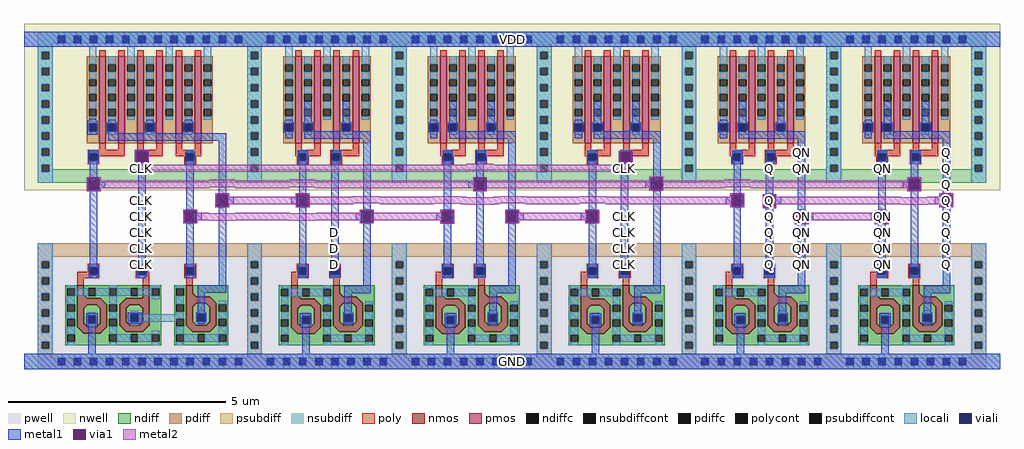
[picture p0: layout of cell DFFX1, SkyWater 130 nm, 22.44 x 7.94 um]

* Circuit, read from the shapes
.subckt DFFX1 Q QN D CLK VDD GND
XM1 n1 n2 GND GND sky130_fd_pr__nfet_01v8 w=2.6 l=0.1484
XM2 n1 CLK n3 GND sky130_fd_pr__nfet_01v8 w=2.52 l=0.1479
XM3 n3 n4 n5 GND sky130_fd_pr__nfet_01v8 w=2.56 l=0.1457
XM4 n6 n5 GND GND sky130_fd_pr__nfet_01v8 w=2.6 l=0.1481
XM5 n6 D n4 GND sky130_fd_pr__nfet_01v8 w=2.56 l=0.146
XM6 n7 n4 GND GND sky130_fd_pr__nfet_01v8 w=2.6 l=0.1481
XM7 n7 n2 n8 GND sky130_fd_pr__nfet_01v8 w=2.56 l=0.1463
XM8 n9 n8 GND GND sky130_fd_pr__nfet_01v8 w=2.6 l=0.1481
XM9 n9 CLK n2 GND sky130_fd_pr__nfet_01v8 w=2.56 l=0.1459
XM10 n10 n5 GND GND sky130_fd_pr__nfet_01v8 w=2.6 l=0.1483
XM11 n10 Q QN GND sky130_fd_pr__nfet_01v8 w=2.56 l=0.1462
XM12 n11 QN GND GND sky130_fd_pr__nfet_01v8 w=2.6 l=0.1478
XM13 n11 n2 Q GND sky130_fd_pr__nfet_01v8 w=2.56 l=0.146
XM14 n5 n2 VDD VDD sky130_fd_pr__pfet_01v8 w=2 l=0.15 m=2
XM15 n5 CLK VDD VDD sky130_fd_pr__pfet_01v8 w=2 l=0.15 m=2
XM16 n5 n4 VDD VDD sky130_fd_pr__pfet_01v8 w=2 l=0.15 m=2
XM17 n4 n5 VDD VDD sky130_fd_pr__pfet_01v8 w=2 l=0.15 m=2
XM18 n4 D VDD VDD sky130_fd_pr__pfet_01v8 w=2 l=0.15 m=2
XM19 n8 n4 VDD VDD sky130_fd_pr__pfet_01v8 w=2 l=0.15 m=2
XM20 n8 n2 VDD VDD sky130_fd_pr__pfet_01v8 w=2 l=0.15 m=2
XM21 n2 n8 VDD VDD sky130_fd_pr__pfet_01v8 w=2 l=0.15 m=2
XM22 n2 CLK VDD VDD sky130_fd_pr__pfet_01v8 w=2 l=0.15 m=2
XM23 QN n5 VDD VDD sky130_fd_pr__pfet_01v8 w=2 l=0.15 m=2
XM24 QN Q VDD VDD sky130_fd_pr__pfet_01v8 w=2 l=0.15 m=2
XM25 Q QN VDD VDD sky130_fd_pr__pfet_01v8 w=2 l=0.15 m=2
XM26 Q n2 VDD VDD sky130_fd_pr__pfet_01v8 w=2 l=0.15 m=2
.ends

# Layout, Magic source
magic
tech sky130A
magscale 1 2
<< nwell >>
rect 0 822 4488 1588
<< pwell >>
rect 155 19 189 53
rect 64 0 4424 6
<< psubdiff >>
rect 64 0 4424 6
<< nsubdiff >>
rect 64 1550 4424 1552
<< locali >>
rect 0 1482 4488 1552
rect 0 0 4488 70
<< metal1 >>
rect 0 1482 4488 1552
rect 3559 981 3593 1015
rect 4225 981 4259 1015
rect 525 907 559 941
rect 2745 907 2779 941
rect 3411 907 3445 941
rect 3559 907 3593 941
rect 3929 907 3963 941
rect 4225 907 4259 941
rect 4225 833 4259 867
rect 3396 799 3460 805
rect 525 759 559 793
rect 3396 747 3402 799
rect 3454 747 3460 799
rect 3396 741 3460 747
rect 4209 803 4273 809
rect 4209 751 4215 803
rect 4267 751 4273 803
rect 4209 745 4273 751
rect 3544 725 3608 731
rect 525 685 559 719
rect 2745 685 2779 719
rect 3411 685 3445 719
rect 3544 673 3550 725
rect 3602 673 3608 725
rect 3544 667 3608 673
rect 3913 725 3977 731
rect 3913 673 3919 725
rect 3971 673 3977 725
rect 4225 685 4259 719
rect 3913 667 3977 673
rect 525 611 559 645
rect 1413 611 1447 645
rect 2745 611 2779 645
rect 3411 611 3445 645
rect 3559 611 3593 645
rect 3929 611 3963 645
rect 4225 611 4259 645
rect 525 537 559 571
rect 1413 537 1447 571
rect 2745 537 2779 571
rect 3411 537 3445 571
rect 3559 537 3593 571
rect 3929 537 3963 571
rect 4225 537 4259 571
rect 525 463 559 497
rect 1413 463 1447 497
rect 2745 463 2779 497
rect 3411 463 3445 497
rect 3559 463 3593 497
rect 3929 463 3963 497
rect 4225 463 4259 497
rect 0 0 4488 70
<< via1 >>
rect 3402 747 3454 799
rect 4215 751 4267 803
rect 3550 673 3602 725
rect 3919 673 3971 725
<< metal2 >>
rect 3396 799 3460 805
rect 3396 747 3402 799
rect 3454 793 3460 799
rect 4209 803 4273 809
rect 4209 793 4215 803
rect 3454 790 4034 793
rect 4154 790 4215 793
rect 3454 759 4215 790
rect 3454 747 3460 759
rect 4034 756 4154 759
rect 3396 741 3460 747
rect 4209 751 4215 759
rect 4267 751 4273 803
rect 4209 745 4273 751
rect 3544 725 3608 731
rect 3544 673 3550 725
rect 3602 719 3608 725
rect 3913 725 3977 731
rect 3913 719 3919 725
rect 3602 685 3919 719
rect 3602 673 3608 685
rect 3544 667 3608 673
rect 3913 673 3919 685
rect 3971 673 3977 725
rect 3913 667 3977 673
use dffx1_pcell  dffx1_pcell_0
transform 1 0 98 0 1 36
box -87 -34 4379 1550
use li1_M1_contact  li1_M1_contact_0
transform -1 0 3576 0 -1 702
box -53 -33 29 33
use li1_M1_contact  li1_M1_contact_1
transform 1 0 3946 0 1 702
box -53 -33 29 33
use li1_M1_contact  li1_M1_contact_8
transform -1 0 3428 0 -1 776
box -53 -33 29 33
use li1_M1_contact  li1_M1_contact_15
transform 1 0 4242 0 1 776
box -53 -33 29 33
<< labels >>
rlabel metal1 4225 759 4259 793 1 Q
port 1 nsew signal output
rlabel metal1 4225 833 4259 867 1 Q
port 1 nsew signal output
rlabel metal1 4225 907 4259 941 1 Q
port 1 nsew signal output
rlabel metal1 4225 981 4259 1015 1 Q
port 1 nsew signal output
rlabel metal1 4225 685 4259 719 1 Q
port 1 nsew signal output
rlabel metal1 4225 611 4259 645 1 Q
port 1 nsew signal output
rlabel metal1 4225 537 4259 571 1 Q
port 1 nsew signal output
rlabel metal1 4225 463 4259 497 1 Q
port 1 nsew signal output
rlabel metal1 3411 907 3445 941 1 Q
port 1 nsew signal output
rlabel metal1 3411 759 3445 793 1 Q
port 1 nsew signal output
rlabel metal1 3411 685 3445 719 1 Q
port 1 nsew signal output
rlabel metal1 3411 611 3445 645 1 Q
port 1 nsew signal output
rlabel metal1 3411 537 3445 571 1 Q
port 1 nsew signal output
rlabel metal1 3411 463 3445 497 1 Q
port 1 nsew signal output
rlabel metal1 3929 685 3963 719 1 QN
port 2 nsew signal output
rlabel metal1 3929 907 3963 941 1 QN
port 2 nsew signal output
rlabel metal1 3929 611 3963 645 1 QN
port 2 nsew signal output
rlabel metal1 3929 537 3963 571 1 QN
port 2 nsew signal output
rlabel metal1 3929 463 3963 497 1 QN
port 2 nsew signal output
rlabel metal1 3559 463 3593 497 1 QN
port 2 nsew signal output
rlabel metal1 3559 537 3593 571 1 QN
port 2 nsew signal output
rlabel metal1 3559 611 3593 645 1 QN
port 2 nsew signal output
rlabel metal1 3559 685 3593 719 1 QN
port 2 nsew signal output
rlabel metal1 3559 907 3593 941 1 QN
port 2 nsew signal output
rlabel metal1 3559 981 3593 1015 1 QN
port 2 nsew signal output
rlabel metal1 1413 611 1447 645 1 D
port 3 nsew signal input
rlabel metal1 1413 537 1447 571 1 D
port 3 nsew signal input
rlabel metal1 1413 463 1447 497 1 D
port 3 nsew signal input
rlabel metal1 525 907 559 941 1 CLK
port 4 nsew signal input
rlabel metal1 525 759 559 793 1 CLK
port 4 nsew signal input
rlabel metal1 525 685 559 719 1 CLK
port 4 nsew signal input
rlabel metal1 525 611 559 645 1 CLK
port 4 nsew signal input
rlabel metal1 525 537 559 571 1 CLK
port 4 nsew signal input
rlabel metal1 525 463 559 497 1 CLK
port 4 nsew signal input
rlabel metal1 2745 463 2779 497 1 CLK
port 4 nsew signal input
rlabel metal1 2745 537 2779 571 1 CLK
port 4 nsew signal input
rlabel metal1 2745 611 2779 645 1 CLK
port 4 nsew signal input
rlabel metal1 2745 685 2779 719 1 CLK
port 4 nsew signal input
rlabel metal1 2745 907 2779 941 1 CLK
port 4 nsew signal input
rlabel metal1 0 1482 4488 1552 1 VDD
port 5 nsew power bidirectional abutment
rlabel metal1 0 0 4488 70 1 GND
port 6 nsew ground bidirectional abutment
<< properties >>
string FIXED_BBOX 0 0 4488 1552
string LEFclass CORE
string LEFsite unitrh
string LEFsymmetry X Y
<< end >>

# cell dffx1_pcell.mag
magic
tech sky130A
magscale 1 2
<< nwell >>
rect 461 905 476 910
<< metal1 >>
rect 412 966 476 972
rect 412 914 418 966
rect 470 914 476 966
rect 412 908 476 914
rect 2637 963 2701 969
rect 2637 911 2643 963
rect 2695 911 2701 963
rect 2637 905 2701 911
rect 191 841 255 847
rect 191 789 197 841
rect 249 789 255 841
rect 191 783 255 789
rect 1967 841 2031 847
rect 1967 789 1973 841
rect 2025 789 2031 841
rect 1967 783 2031 789
rect 2778 843 2842 849
rect 2778 791 2784 843
rect 2836 791 2842 843
rect 2778 785 2842 791
rect 3964 840 4028 846
rect 3964 788 3970 840
rect 4022 788 4028 840
rect 3964 782 4028 788
rect 782 766 846 772
rect 782 714 788 766
rect 840 714 846 766
rect 782 708 846 714
rect 1151 766 1215 772
rect 1151 714 1157 766
rect 1209 714 1215 766
rect 1151 708 1215 714
rect 3150 767 3214 773
rect 3150 715 3156 767
rect 3208 715 3214 767
rect 3150 709 3214 715
rect 635 692 699 698
rect 635 640 641 692
rect 693 640 699 692
rect 635 634 699 640
rect 1447 692 1511 698
rect 1447 640 1453 692
rect 1505 640 1511 692
rect 1447 634 1511 640
rect 1817 691 1881 697
rect 1817 639 1823 691
rect 1875 639 1881 691
rect 1817 633 1881 639
rect 2115 692 2179 698
rect 2115 640 2121 692
rect 2173 640 2179 692
rect 2115 634 2179 640
rect 2483 692 2547 698
rect 2483 640 2489 692
rect 2541 640 2547 692
rect 2483 634 2547 640
<< via1 >>
rect 418 914 470 966
rect 2643 911 2695 963
rect 197 789 249 841
rect 1973 789 2025 841
rect 2784 791 2836 843
rect 3970 788 4022 840
rect 788 714 840 766
rect 1157 714 1209 766
rect 3156 715 3208 767
rect 641 640 693 692
rect 1453 640 1505 692
rect 1823 639 1875 691
rect 2121 640 2173 692
rect 2489 640 2541 692
<< metal2 >>
rect 412 966 476 972
rect 412 914 418 966
rect 470 914 476 966
rect 412 908 476 914
rect 2637 963 2701 969
rect 2637 911 2643 963
rect 2695 911 2701 963
rect 427 905 476 908
rect 1939 905 2059 909
rect 2637 905 2701 911
rect 427 875 2685 905
rect 427 871 1939 875
rect 2059 871 2685 875
rect 191 841 255 847
rect 191 789 197 841
rect 249 831 255 841
rect 1967 841 2031 847
rect 754 831 874 834
rect 1123 831 1243 834
rect 1967 831 1973 841
rect 249 800 1973 831
rect 249 797 754 800
rect 874 797 1123 800
rect 1243 797 1973 800
rect 249 789 255 797
rect 191 783 255 789
rect 1967 789 1973 797
rect 2025 831 2031 841
rect 2778 843 2842 849
rect 2778 831 2784 843
rect 2025 797 2784 831
rect 2025 789 2031 797
rect 1967 783 2031 789
rect 2778 791 2784 797
rect 2836 831 2842 843
rect 3964 840 4028 846
rect 3122 831 3242 835
rect 3964 831 3970 840
rect 2836 801 3970 831
rect 2836 797 3122 801
rect 3242 797 3970 801
rect 2836 791 2842 797
rect 2778 785 2842 791
rect 3964 788 3970 797
rect 4022 788 4028 840
rect 3964 782 4028 788
rect 782 766 846 772
rect 782 714 788 766
rect 840 757 846 766
rect 1151 766 1215 772
rect 1151 757 1157 766
rect 840 723 1157 757
rect 840 714 846 723
rect 782 708 846 714
rect 1151 714 1157 723
rect 1209 757 1215 766
rect 3150 767 3214 773
rect 1419 757 1539 760
rect 1789 757 1909 759
rect 2087 757 2207 760
rect 2455 757 2575 760
rect 3150 757 3156 767
rect 1209 755 1939 757
rect 2059 755 3156 757
rect 1209 726 3156 755
rect 1209 723 1419 726
rect 1539 725 2087 726
rect 1539 723 1789 725
rect 1909 723 2087 725
rect 2207 723 2455 726
rect 2575 723 3156 726
rect 1209 714 1215 723
rect 1939 721 2059 723
rect 1151 708 1215 714
rect 3150 715 3156 723
rect 3208 715 3214 767
rect 3150 709 3214 715
rect 635 692 699 698
rect 635 640 641 692
rect 693 683 699 692
rect 1447 692 1511 698
rect 1447 683 1453 692
rect 693 680 754 683
rect 874 680 1123 683
rect 1243 680 1453 683
rect 693 649 1453 680
rect 693 640 699 649
rect 754 646 874 649
rect 1123 646 1243 649
rect 635 634 699 640
rect 1447 640 1453 649
rect 1505 683 1511 692
rect 1817 691 1881 697
rect 1817 683 1823 691
rect 1505 649 1823 683
rect 1505 640 1511 649
rect 1447 634 1511 640
rect 1817 639 1823 649
rect 1875 639 1881 691
rect 1817 633 1881 639
rect 2115 692 2179 698
rect 2115 640 2121 692
rect 2173 683 2179 692
rect 2483 692 2547 698
rect 2483 683 2489 692
rect 2173 649 2489 683
rect 2173 640 2179 649
rect 2115 634 2179 640
rect 2483 640 2489 649
rect 2541 640 2547 692
rect 2483 634 2547 640
use li1_M1_contact  li1_M1_contact_0
transform 1 0 2812 0 1 814
box -53 -33 29 33
use li1_M1_contact  li1_M1_contact_1
transform -1 0 222 0 -1 814
box -53 -33 29 33
use li1_M1_contact  li1_M1_contact_2
transform 1 0 1998 0 1 814
box -53 -33 29 33
use li1_M1_contact  li1_M1_contact_3
transform -1 0 666 0 -1 666
box -53 -33 29 33
use li1_M1_contact  li1_M1_contact_4
transform 1 0 1480 0 1 666
box -53 -33 29 33
use li1_M1_contact  li1_M1_contact_5
transform -1 0 814 0 -1 740
box -53 -33 29 33
use li1_M1_contact  li1_M1_contact_6
transform 1 0 1184 0 1 740
box -53 -33 29 33
use li1_M1_contact  li1_M1_contact_7
transform 1 0 1850 0 1 666
box -53 -33 29 33
use li1_M1_contact  li1_M1_contact_8
transform 1 0 3182 0 1 740
box -53 -33 29 33
use li1_M1_contact  li1_M1_contact_9
transform 1 0 2516 0 1 666
box -53 -33 29 33
use li1_M1_contact  li1_M1_contact_10
transform -1 0 2146 0 -1 666
box -53 -33 29 33
use li1_M1_contact  li1_M1_contact_15
transform 1 0 3996 0 1 814
box -53 -33 29 33
use nand2x1_pcell  nand2x1_pcell_0
transform 1 0 962 0 1 0
box -87 -34 753 1550
use nand2x1_pcell  nand2x1_pcell_1
transform 1 0 1628 0 1 0
box -87 -34 753 1550
use nand2x1_pcell  nand2x1_pcell_2
transform 1 0 2294 0 1 0
box -87 -34 753 1550
use nand2x1_pcell  nand2x1_pcell_3
transform 1 0 2960 0 1 0
box -87 -34 753 1550
use nand2x1_pcell  nand2x1_pcell_4
transform 1 0 3626 0 1 0
box -87 -34 753 1550
use nand3x1_pcell  nand3x1_pcell_0
transform 1 0 0 0 1 0
box -87 -34 1049 1550
<< end >>

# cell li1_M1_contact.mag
magic
tech sky130A
magscale 1 2
<< locali >>
rect -17 17 17 33
rect -17 -33 17 -17
<< viali >>
rect -17 -17 17 17
<< metal1 >>
rect -23 17 23 23
rect -53 -17 -17 17
rect 17 -17 29 17
rect -23 -23 23 -17
<< end >>

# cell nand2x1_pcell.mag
magic
tech sky130A
magscale 1 2
<< nwell >>
rect 87 786 579 1550
<< pwell >>
rect 34 542 632 544
rect -31 -30 697 542
rect 34 -34 632 -30
<< pdiff >>
rect 223 1093 269 1100
rect 223 1059 229 1093
rect 263 1059 269 1093
rect 223 1053 269 1059
rect 399 1093 445 1100
rect 399 1059 405 1093
rect 439 1059 445 1093
rect 399 1053 445 1059
<< pdiffc >>
rect 141 1059 175 1093
rect 229 1059 263 1093
rect 405 1059 439 1093
<< psubdiff >>
rect 34 542 632 544
rect 31 482 635 542
rect 31 480 34 482
rect 632 480 635 482
rect 31 -17 57 17
rect 91 -17 131 17
rect 165 -17 205 17
rect 239 -17 279 17
rect 313 -17 353 17
rect 387 -17 427 17
rect 461 -17 501 17
rect 535 -17 575 17
rect 609 -17 635 17
rect 31 -30 635 -17
rect 34 -34 632 -30
<< nsubdiff >>
rect 34 1497 632 1514
rect 34 1463 57 1497
rect 91 1463 131 1497
rect 165 1463 205 1497
rect 239 1463 279 1497
rect 313 1463 353 1497
rect 387 1463 427 1497
rect 461 1463 501 1497
rect 535 1463 575 1497
rect 609 1463 632 1497
rect 34 822 632 884
<< psubdiffcont >>
rect 57 -17 91 17
rect 131 -17 165 17
rect 205 -17 239 17
rect 279 -17 313 17
rect 353 -17 387 17
rect 427 -17 461 17
rect 501 -17 535 17
rect 575 -17 609 17
<< nsubdiffcont >>
rect 57 1463 91 1497
rect 131 1463 165 1497
rect 205 1463 239 1497
rect 279 1463 313 1497
rect 353 1463 387 1497
rect 427 1463 461 1497
rect 501 1463 535 1497
rect 575 1463 609 1497
<< poly >>
rect 168 375 198 413
rect 362 382 392 383
<< locali >>
rect -34 1497 634 1514
rect -34 1463 57 1497
rect 91 1463 131 1497
rect 165 1463 205 1497
rect 239 1463 279 1497
rect 313 1463 353 1497
rect 387 1463 427 1497
rect 461 1463 501 1497
rect 535 1463 575 1497
rect 609 1463 634 1497
rect -34 1446 634 1463
rect 141 1093 175 1122
rect 141 1043 175 1059
rect 229 1093 263 1122
rect 229 1043 263 1059
rect 405 1093 439 1122
rect 405 1043 439 1059
rect 33 17 659 34
rect 33 -17 57 17
rect 91 -17 131 17
rect 165 -17 205 17
rect 239 -17 279 17
rect 313 -17 353 17
rect 387 -17 427 17
rect 461 -17 501 17
rect 535 -17 575 17
rect 609 -17 659 17
rect 33 -34 659 -17
<< viali >>
rect 57 1463 91 1497
rect 131 1463 165 1497
rect 205 1463 239 1497
rect 279 1463 313 1497
rect 353 1463 387 1497
rect 427 1463 461 1497
rect 501 1463 535 1497
rect 575 1463 609 1497
rect 141 1059 175 1093
rect 229 1059 263 1093
rect 405 1059 439 1093
rect 205 923 239 957
rect 359 923 393 957
rect 205 399 239 433
rect 353 399 387 433
rect 219 174 253 208
rect 413 183 447 217
rect 57 -17 91 17
rect 131 -17 165 17
rect 205 -17 239 17
rect 279 -17 313 17
rect 353 -17 387 17
rect 427 -17 461 17
rect 501 -17 535 17
rect 575 -17 609 17
<< metal1 >>
rect -34 1497 700 1514
rect -34 1463 57 1497
rect 91 1463 131 1497
rect 165 1463 205 1497
rect 239 1463 279 1497
rect 313 1463 353 1497
rect 387 1463 427 1497
rect 461 1463 501 1497
rect 535 1463 575 1497
rect 609 1463 700 1497
rect -34 1446 700 1463
rect 141 1100 175 1111
rect 229 1100 263 1196
rect 405 1100 439 1196
rect 135 1093 181 1100
rect 135 1059 141 1093
rect 175 1059 181 1093
rect 135 1053 181 1059
rect 223 1093 269 1100
rect 223 1059 229 1093
rect 263 1059 269 1093
rect 223 1057 269 1059
rect 399 1093 445 1100
rect 399 1059 405 1093
rect 439 1059 445 1093
rect 399 1057 445 1059
rect 223 1053 535 1057
rect 141 1027 175 1053
rect 229 1023 535 1053
rect 199 957 246 969
rect 199 923 205 957
rect 239 923 246 957
rect 199 912 246 923
rect 353 957 399 969
rect 353 923 359 957
rect 393 923 399 957
rect 353 916 399 923
rect 205 441 239 912
rect 353 911 394 916
rect 353 441 387 911
rect 198 433 246 441
rect 198 399 205 433
rect 239 399 246 433
rect 198 387 246 399
rect 347 433 394 441
rect 347 399 353 433
rect 387 399 394 433
rect 347 387 394 399
rect 501 348 535 1023
rect 413 314 535 348
rect 413 224 447 314
rect 209 208 262 220
rect 209 174 219 208
rect 253 174 262 208
rect 209 165 262 174
rect 407 217 453 224
rect 407 183 413 217
rect 447 183 453 217
rect 407 171 453 183
rect 219 34 253 165
rect -34 17 700 34
rect -34 -17 57 17
rect 91 -17 131 17
rect 165 -17 205 17
rect 239 -17 279 17
rect 313 -17 353 17
rect 387 -17 427 17
rect 461 -17 501 17
rect 535 -17 575 17
rect 609 -17 700 17
rect -34 -34 700 -17
use diff_ring_side  diff_ring_side_0
transform 1 0 666 0 1 0
box -87 -34 87 1550
use diff_ring_side  diff_ring_side_1
transform 1 0 0 0 1 0
box -87 -34 87 1550
use nmos_bottom  nmos_bottom_0
transform -1 0 360 0 1 73
box 0 0 248 302
use nmos_top_trim1  nmos_top_trim1_0
transform -1 0 554 0 1 73
box 0 0 248 309
use pmos2  pmos2_0
transform 1 0 43 0 1 1404
box 52 -461 352 42
use pmos2  pmos2_1
transform 1 0 219 0 1 1404
box 52 -461 352 42
use poly_li1_contact  poly_li1_contact_0
transform 0 1 223 -1 0 941
box -32 -28 34 26
use poly_li1_contact  poly_li1_contact_1
transform 0 1 223 -1 0 417
box -32 -28 34 26
use poly_li1_contact  poly_li1_contact_2
transform 0 -1 369 1 0 415
box -32 -28 34 26
use poly_li1_contact  poly_li1_contact_3
transform 0 1 377 -1 0 941
box -32 -28 34 26
<< end >>

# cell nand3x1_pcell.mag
magic
tech sky130A
magscale 1 2
<< nwell >>
rect 87 1099 875 1550
rect 87 1093 220 1099
rect 87 1059 205 1093
rect 229 1059 263 1093
rect 87 1056 220 1059
rect 279 1056 875 1099
rect 87 786 875 1056
<< pwell >>
rect 34 -34 928 544
<< pdiffc >>
rect 201 1059 235 1093
rect 289 1059 323 1093
rect 465 1059 499 1093
rect 641 1059 675 1093
<< psubdiff >>
rect 34 482 928 544
rect 34 -17 57 17
rect 91 -17 131 17
rect 165 -17 205 17
rect 239 -17 279 17
rect 313 -17 353 17
rect 387 -17 427 17
rect 461 -17 501 17
rect 535 -17 575 17
rect 609 -17 649 17
rect 683 -17 723 17
rect 757 -17 797 17
rect 831 -17 871 17
rect 905 -17 928 17
rect 34 -34 928 -17
<< nsubdiff >>
rect 34 1497 928 1514
rect 34 1463 57 1497
rect 91 1463 131 1497
rect 165 1463 205 1497
rect 239 1463 279 1497
rect 313 1463 353 1497
rect 387 1463 427 1497
rect 461 1463 501 1497
rect 535 1463 575 1497
rect 609 1463 649 1497
rect 683 1463 723 1497
rect 757 1463 797 1497
rect 831 1463 871 1497
rect 905 1463 928 1497
rect 34 822 928 884
<< psubdiffcont >>
rect 57 -17 91 17
rect 131 -17 165 17
rect 205 -17 239 17
rect 279 -17 313 17
rect 353 -17 387 17
rect 427 -17 461 17
rect 501 -17 535 17
rect 575 -17 609 17
rect 649 -17 683 17
rect 723 -17 757 17
rect 797 -17 831 17
rect 871 -17 905 17
<< nsubdiffcont >>
rect 57 1463 91 1497
rect 131 1463 165 1497
rect 205 1463 239 1497
rect 279 1463 313 1497
rect 353 1463 387 1497
rect 427 1463 461 1497
rect 501 1463 535 1497
rect 575 1463 609 1497
rect 649 1463 683 1497
rect 723 1463 757 1497
rect 797 1463 831 1497
rect 871 1463 905 1497
<< poly >>
rect 147 383 195 413
rect 471 383 477 413
rect 147 377 177 383
rect 447 377 477 383
<< locali >>
rect 14 1497 943 1514
rect 14 1463 57 1497
rect 91 1463 131 1497
rect 165 1463 205 1497
rect 239 1463 279 1497
rect 313 1463 353 1497
rect 387 1463 427 1497
rect 461 1463 501 1497
rect 535 1463 575 1497
rect 609 1463 649 1497
rect 683 1463 723 1497
rect 757 1463 797 1497
rect 831 1463 871 1497
rect 905 1463 943 1497
rect 14 1446 943 1463
rect 201 1093 235 1120
rect 201 1043 235 1059
rect 289 1093 323 1112
rect 289 1043 323 1059
rect 465 1093 499 1117
rect 465 1043 499 1059
rect 641 1093 675 1112
rect 641 1043 675 1059
rect 427 182 603 216
rect 34 17 930 34
rect 34 -17 57 17
rect 91 -17 131 17
rect 165 -17 205 17
rect 239 -17 279 17
rect 313 -17 353 17
rect 387 -17 427 17
rect 461 -17 501 17
rect 535 -17 575 17
rect 609 -17 649 17
rect 683 -17 723 17
rect 757 -17 797 17
rect 831 -17 871 17
rect 905 -17 930 17
rect 34 -34 930 -17
<< viali >>
rect 57 1463 91 1497
rect 131 1463 165 1497
rect 205 1463 239 1497
rect 279 1463 313 1497
rect 353 1463 387 1497
rect 427 1463 461 1497
rect 501 1463 535 1497
rect 575 1463 609 1497
rect 649 1463 683 1497
rect 723 1463 757 1497
rect 797 1463 831 1497
rect 871 1463 905 1497
rect 201 1059 235 1093
rect 289 1059 323 1093
rect 465 1059 499 1093
rect 641 1059 675 1093
rect 205 923 239 957
rect 427 923 461 957
rect 649 923 683 957
rect 205 399 239 433
rect 427 399 461 433
rect 649 399 683 433
rect 198 176 232 210
rect 393 182 427 216
rect 700 185 734 219
rect 57 -17 91 17
rect 131 -17 165 17
rect 205 -17 239 17
rect 279 -17 313 17
rect 353 -17 387 17
rect 427 -17 461 17
rect 501 -17 535 17
rect 575 -17 609 17
rect 649 -17 683 17
rect 723 -17 757 17
rect 797 -17 831 17
rect 871 -17 905 17
<< metal1 >>
rect 34 1497 928 1514
rect 34 1463 57 1497
rect 91 1463 131 1497
rect 165 1463 205 1497
rect 239 1463 279 1497
rect 313 1463 353 1497
rect 387 1463 427 1497
rect 461 1463 501 1497
rect 535 1463 575 1497
rect 609 1463 649 1497
rect 683 1463 723 1497
rect 757 1463 797 1497
rect 831 1463 871 1497
rect 905 1463 928 1497
rect 34 1446 928 1463
rect 201 1107 235 1116
rect 193 1093 241 1107
rect 289 1099 323 1111
rect 465 1099 499 1111
rect 641 1099 675 1111
rect 193 1059 201 1093
rect 235 1059 241 1093
rect 193 1043 241 1059
rect 283 1093 330 1099
rect 283 1059 289 1093
rect 323 1059 330 1093
rect 283 1048 330 1059
rect 458 1093 506 1099
rect 458 1059 465 1093
rect 499 1059 506 1093
rect 458 1048 506 1059
rect 635 1093 681 1099
rect 635 1059 641 1093
rect 675 1059 681 1093
rect 635 1048 681 1059
rect 289 1014 831 1048
rect 205 967 239 969
rect 198 957 246 967
rect 427 963 461 969
rect 649 963 683 969
rect 198 923 205 957
rect 239 923 246 957
rect 198 915 246 923
rect 421 957 467 963
rect 421 923 427 957
rect 461 923 467 957
rect 421 917 467 923
rect 643 957 689 963
rect 643 923 649 957
rect 683 923 689 957
rect 205 439 239 915
rect 427 439 461 917
rect 643 914 689 923
rect 649 439 683 914
rect 199 433 245 439
rect 199 399 205 433
rect 239 399 245 433
rect 199 391 245 399
rect 421 433 468 439
rect 421 399 427 433
rect 461 399 468 433
rect 421 391 468 399
rect 643 433 689 439
rect 643 399 649 433
rect 683 399 689 433
rect 643 391 689 399
rect 205 383 239 391
rect 427 383 461 391
rect 649 383 683 391
rect 797 350 831 1014
rect 700 316 831 350
rect 700 225 734 316
rect 189 210 241 222
rect 189 176 198 210
rect 232 176 241 210
rect 189 167 241 176
rect 378 216 445 223
rect 378 182 393 216
rect 427 182 445 216
rect 378 173 445 182
rect 694 219 740 225
rect 694 185 700 219
rect 734 185 740 219
rect 694 179 740 185
rect 700 173 734 179
rect 198 34 232 167
rect 34 17 928 34
rect 34 -17 57 17
rect 91 -17 131 17
rect 165 -17 205 17
rect 239 -17 279 17
rect 313 -17 353 17
rect 387 -17 427 17
rect 461 -17 501 17
rect 535 -17 575 17
rect 609 -17 649 17
rect 683 -17 723 17
rect 757 -17 797 17
rect 831 -17 871 17
rect 905 -17 928 17
rect 34 -34 928 -17
use diff_ring_side  diff_ring_side_0
transform 1 0 962 0 1 0
box -87 -34 87 1550
use diff_ring_side  diff_ring_side_1
transform 1 0 0 0 1 0
box -87 -34 87 1550
use nmos_bottom  nmos_bottom_0
transform -1 0 339 0 1 75
box 0 0 248 302
use nmos_side_left  nmos_side_left_0
transform 1 0 285 0 1 75
box 0 0 248 302
use nmos_top_trim1  nmos_top_trim1_0
transform -1 0 841 0 1 75
box 0 0 248 309
use pmos2  pmos2_0
transform 1 0 103 0 1 1404
box 52 -461 352 42
use pmos2  pmos2_1
transform 1 0 279 0 1 1404
box 52 -461 352 42
use pmos2  pmos2_2
transform 1 0 455 0 1 1404
box 52 -461 352 42
use poly_li1_contact  poly_li1_contact_0
transform 0 1 223 -1 0 941
box -32 -28 34 26
use poly_li1_contact  poly_li1_contact_1
transform 0 -1 221 1 0 415
box -32 -28 34 26
use poly_li1_contact  poly_li1_contact_2
transform 0 -1 443 1 0 415
box -32 -28 34 26
use poly_li1_contact  poly_li1_contact_3
transform 0 -1 443 1 0 939
box -32 -28 34 26
use poly_li1_contact  poly_li1_contact_4
transform 0 -1 665 1 0 415
box -32 -28 34 26
use poly_li1_contact  poly_li1_contact_5
transform 0 1 667 -1 0 941
box -32 -28 34 26
<< end >>

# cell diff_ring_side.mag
magic
tech sky130A
magscale 1 2
<< nwell >>
rect -87 786 87 1550
<< pwell >>
rect -34 -34 34 544
<< psubdiff >>
rect -34 461 34 544
rect -34 427 -17 461
rect 17 427 34 461
rect -34 387 34 427
rect -34 353 -17 387
rect 17 353 34 387
rect -34 313 34 353
rect -34 279 -17 313
rect 17 279 34 313
rect -34 239 34 279
rect -34 205 -17 239
rect 17 205 34 239
rect -34 165 34 205
rect -34 131 -17 165
rect 17 131 34 165
rect -34 91 34 131
rect -34 57 -17 91
rect 17 57 34 91
rect -34 -34 34 57
<< nsubdiff >>
rect -34 1423 34 1514
rect -34 1389 -17 1423
rect 17 1389 34 1423
rect -34 1349 34 1389
rect -34 1315 -17 1349
rect 17 1315 34 1349
rect -34 1275 34 1315
rect -34 1241 -17 1275
rect 17 1241 34 1275
rect -34 1201 34 1241
rect -34 1167 -17 1201
rect 17 1167 34 1201
rect -34 1127 34 1167
rect -34 1093 -17 1127
rect 17 1093 34 1127
rect -34 1053 34 1093
rect -34 1019 -17 1053
rect 17 1019 34 1053
rect -34 979 34 1019
rect -34 945 -17 979
rect 17 945 34 979
rect -34 905 34 945
rect -34 871 -17 905
rect 17 871 34 905
rect -34 822 34 871
<< psubdiffcont >>
rect -17 427 17 461
rect -17 353 17 387
rect -17 279 17 313
rect -17 205 17 239
rect -17 131 17 165
rect -17 57 17 91
<< nsubdiffcont >>
rect -17 1389 17 1423
rect -17 1315 17 1349
rect -17 1241 17 1275
rect -17 1167 17 1201
rect -17 1093 17 1127
rect -17 1019 17 1053
rect -17 945 17 979
rect -17 871 17 905
<< locali >>
rect -34 1423 34 1514
rect -34 1389 -17 1423
rect 17 1389 34 1423
rect -34 1349 34 1389
rect -34 1315 -17 1349
rect 17 1315 34 1349
rect -34 1275 34 1315
rect -34 1241 -17 1275
rect 17 1241 34 1275
rect -34 1201 34 1241
rect -34 1167 -17 1201
rect 17 1167 34 1201
rect -34 1127 34 1167
rect -34 1093 -17 1127
rect 17 1093 34 1127
rect -34 1053 34 1093
rect -34 1019 -17 1053
rect 17 1019 34 1053
rect -34 979 34 1019
rect -34 945 -17 979
rect 17 945 34 979
rect -34 905 34 945
rect -34 871 -17 905
rect 17 871 34 905
rect -34 822 34 871
rect -34 461 34 544
rect -34 427 -17 461
rect 17 427 34 461
rect -34 387 34 427
rect -34 353 -17 387
rect 17 353 34 387
rect -34 313 34 353
rect -34 279 -17 313
rect 17 279 34 313
rect -34 239 34 279
rect -34 205 -17 239
rect 17 205 34 239
rect -34 165 34 205
rect -34 131 -17 165
rect 17 131 34 165
rect -34 91 34 131
rect -34 57 -17 91
rect 17 57 34 91
rect -34 -34 34 57
<< metal1 >>
rect -34 1446 34 1514
rect -34 -34 34 34
<< end >>

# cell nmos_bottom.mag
magic
tech sky130A
magscale 1 2
<< nmos >>
tri 146 215 162 231 se
rect 162 215 192 276
tri 56 185 86 215 se
rect 86 185 192 215
rect 56 84 86 185
tri 86 169 102 185 nw
tri 146 169 162 185 ne
tri 86 84 102 100 sw
tri 146 84 162 100 se
rect 162 84 192 185
tri 56 54 86 84 ne
rect 86 54 162 84
tri 162 54 192 84 nw
<< ndiff >>
rect 0 260 162 276
rect 0 226 10 260
rect 44 226 107 260
rect 141 231 162 260
rect 141 226 146 231
rect 0 215 146 226
tri 146 215 162 231 nw
rect 192 260 248 276
rect 192 226 204 260
rect 238 226 248 260
rect 0 188 56 215
rect 0 154 10 188
rect 44 154 56 188
tri 56 185 86 215 nw
rect 192 188 248 226
rect 0 120 56 154
rect 0 86 10 120
rect 44 86 56 120
rect 0 54 56 86
tri 86 169 102 185 se
rect 102 169 146 185
tri 146 169 162 185 sw
rect 86 135 162 169
rect 86 101 107 135
rect 141 101 162 135
rect 86 100 162 101
tri 86 84 102 100 ne
rect 102 84 146 100
tri 146 84 162 100 nw
rect 192 154 204 188
rect 238 154 248 188
rect 192 120 248 154
rect 192 86 204 120
rect 238 86 248 120
tri 56 54 86 84 sw
tri 162 54 192 84 se
rect 192 54 248 86
rect 0 50 248 54
rect 0 16 10 50
rect 44 16 204 50
rect 238 16 248 50
rect 0 0 248 16
<< ndiffc >>
rect 10 226 44 260
rect 107 226 141 260
rect 204 226 238 260
rect 10 154 44 188
rect 10 86 44 120
rect 107 101 141 135
rect 204 154 238 188
rect 204 86 238 120
rect 10 16 44 50
rect 204 16 238 50
<< poly >>
rect 162 276 192 302
<< locali >>
rect 10 260 44 276
rect 204 260 238 276
rect 44 226 107 260
rect 141 226 204 260
rect 10 188 44 226
rect 10 120 44 154
rect 204 188 238 226
rect 10 50 44 86
rect 107 135 141 151
rect 107 85 141 101
rect 204 120 238 154
rect 10 0 44 16
rect 204 50 238 86
rect 204 0 238 16
<< end >>

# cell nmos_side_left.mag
magic
tech sky130
magscale 1 2
<< nmos >>
rect 162 215 192 276
tri 57 185 87 215 se
rect 87 185 192 215
rect 57 91 87 185
tri 87 169 103 185 nw
tri 146 169 162 185 ne
tri 87 91 103 107 sw
tri 146 91 162 107 se
rect 162 91 192 185
tri 57 61 87 91 ne
rect 87 61 162 91
tri 162 61 192 91 nw
<< ndiff >>
rect 0 260 162 276
rect 0 226 10 260
rect 44 226 107 260
rect 141 226 162 260
rect 0 215 162 226
rect 192 260 248 276
rect 192 226 204 260
rect 238 226 248 260
rect 0 188 57 215
rect 0 154 10 188
rect 44 154 57 188
tri 57 185 87 215 nw
rect 0 120 57 154
rect 0 86 10 120
rect 44 86 57 120
tri 87 169 103 185 se
rect 103 169 146 185
tri 146 169 162 185 sw
rect 87 141 162 169
rect 87 107 108 141
rect 142 107 162 141
tri 87 91 103 107 ne
rect 103 91 146 107
tri 146 91 162 107 nw
rect 0 61 57 86
tri 57 61 87 91 sw
tri 162 61 192 91 se
rect 192 61 248 226
rect 0 50 248 61
rect 0 16 10 50
rect 44 16 107 50
rect 141 16 204 50
rect 238 16 248 50
rect 0 0 248 16
<< ndiffc >>
rect 10 226 44 260
rect 107 226 141 260
rect 204 226 238 260
rect 10 154 44 188
rect 10 86 44 120
rect 108 107 142 141
rect 10 16 44 50
rect 107 16 141 50
rect 204 16 238 50
<< poly >>
rect 162 276 192 302
<< locali >>
rect 10 260 44 276
rect 204 260 238 276
rect 44 226 107 260
rect 141 226 204 260
rect 10 188 44 226
rect 204 210 238 226
rect 10 120 44 154
rect 108 141 142 157
rect 108 91 142 107
rect 10 50 44 86
rect 204 50 238 66
rect 44 16 107 50
rect 141 16 204 50
rect 10 0 44 16
rect 204 0 238 16
<< end >>

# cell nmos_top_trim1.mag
magic
tech sky130
magscale 1 2
<< nmos >>
tri 146 223 162 239 se
rect 162 223 192 276
tri 56 193 86 223 se
rect 86 193 192 223
rect 56 92 86 193
tri 86 177 102 193 nw
tri 146 177 162 193 ne
tri 86 92 102 108 sw
tri 146 92 162 108 se
rect 162 92 192 193
tri 56 62 86 92 ne
rect 86 62 162 92
tri 162 62 192 92 nw
<< ndiff >>
rect 0 239 162 276
rect 0 223 146 239
tri 146 223 162 239 nw
rect 192 260 248 276
rect 192 226 204 260
rect 238 226 248 260
rect 0 188 56 223
tri 56 193 86 223 nw
rect 0 154 10 188
rect 44 154 56 188
rect 0 120 56 154
rect 0 86 10 120
rect 44 86 56 120
tri 86 177 102 193 se
rect 102 177 146 193
tri 146 177 162 193 sw
rect 86 144 162 177
rect 86 110 107 144
rect 141 110 162 144
rect 86 108 162 110
tri 86 92 102 108 ne
rect 102 92 146 108
tri 146 92 162 108 nw
rect 192 188 248 226
rect 192 154 204 188
rect 238 154 248 188
rect 192 120 248 154
rect 0 62 56 86
tri 56 62 86 92 sw
tri 162 62 192 92 se
rect 192 86 204 120
rect 238 86 248 120
rect 192 62 248 86
rect 0 50 248 62
rect 0 16 10 50
rect 44 16 107 50
rect 141 16 204 50
rect 238 16 248 50
rect 0 0 248 16
<< ndiffc >>
rect 204 226 238 260
rect 10 154 44 188
rect 10 86 44 120
rect 107 110 141 144
rect 204 154 238 188
rect 204 86 238 120
rect 10 16 44 50
rect 107 16 141 50
rect 204 16 238 50
<< poly >>
rect 162 276 192 309
<< locali >>
rect 204 260 238 276
rect 10 188 44 204
rect 204 188 238 226
rect 10 120 44 154
rect 107 144 141 161
rect 107 94 141 110
rect 204 120 238 154
rect 10 50 44 86
rect 204 50 238 86
rect 44 16 107 50
rect 141 16 204 50
rect 10 0 44 16
rect 204 0 238 16
<< end >>

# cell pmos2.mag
magic
tech sky130A
magscale 1 2
<< nwell >>
rect 52 -436 352 36
<< pmos >>
rect 144 -400 174 0
rect 232 -400 262 0
<< pdiff >>
rect 88 -38 144 0
rect 88 -72 98 -38
rect 132 -72 144 -38
rect 88 -106 144 -72
rect 88 -140 98 -106
rect 132 -140 144 -106
rect 88 -174 144 -140
rect 88 -208 98 -174
rect 132 -208 144 -174
rect 88 -242 144 -208
rect 88 -276 98 -242
rect 132 -276 144 -242
rect 88 -400 144 -276
rect 174 -38 232 0
rect 174 -72 186 -38
rect 220 -72 232 -38
rect 174 -106 232 -72
rect 174 -140 186 -106
rect 220 -140 232 -106
rect 174 -174 232 -140
rect 174 -208 186 -174
rect 220 -208 232 -174
rect 174 -242 232 -208
rect 174 -276 186 -242
rect 220 -276 232 -242
rect 174 -400 232 -276
rect 262 -38 316 0
rect 262 -72 274 -38
rect 308 -72 316 -38
rect 262 -106 316 -72
rect 262 -140 274 -106
rect 308 -140 316 -106
rect 262 -174 316 -140
rect 262 -208 274 -174
rect 308 -208 316 -174
rect 262 -242 316 -208
rect 262 -276 274 -242
rect 308 -276 316 -242
rect 262 -400 316 -276
<< pdiffc >>
rect 98 -72 132 -38
rect 98 -140 132 -106
rect 98 -208 132 -174
rect 98 -276 132 -242
rect 186 -72 220 -38
rect 186 -140 220 -106
rect 186 -208 220 -174
rect 186 -276 220 -242
rect 274 -72 308 -38
rect 274 -140 308 -106
rect 274 -208 308 -174
rect 274 -276 308 -242
<< poly >>
rect 144 0 174 26
rect 232 0 262 26
rect 144 -431 174 -400
rect 232 -431 262 -400
rect 144 -461 262 -431
<< locali >>
rect 98 -38 132 42
rect 98 -106 132 -72
rect 98 -174 132 -140
rect 98 -242 132 -208
rect 98 -293 132 -276
rect 186 -38 220 0
rect 186 -106 220 -72
rect 186 -174 220 -140
rect 186 -242 220 -208
rect 186 -293 220 -276
rect 274 -38 308 42
rect 274 -106 308 -72
rect 274 -174 308 -140
rect 274 -242 308 -208
rect 274 -293 308 -276
<< end >>

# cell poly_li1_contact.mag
magic
tech sky130
<< poly >>
rect -16 8 17 13
rect -16 -9 -8 8
rect 9 -9 17 8
rect -16 -14 17 -9
<< polycont >>
rect -8 -9 9 8
<< locali >>
rect -16 -9 -8 8
rect 9 -9 17 8
<< end >>
